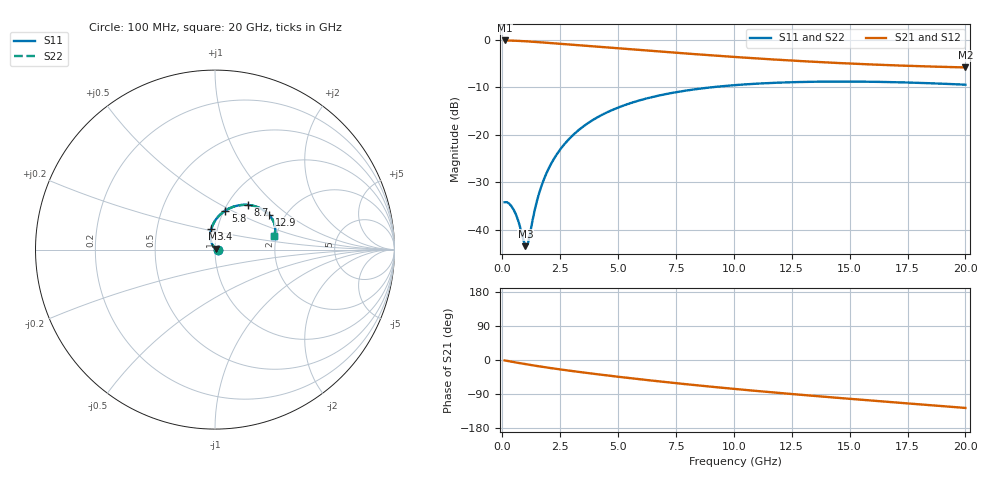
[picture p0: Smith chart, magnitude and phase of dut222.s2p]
! Created with skrf 1.9.0 (http://scikit-rf.org).
# GHz S RI R 50.0
!freq ReS11 ImS11 ReS21 ImS21 ReS12 ImS12 ReS22 ImS22
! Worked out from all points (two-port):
!   200 points, 100 MHz to 20 GHz, reference 50 ohm
!   highest |S21| = -0.17 dB at 100 MHz (marker M1); lowest = -5.9 dB at 20 GHz (marker M2)
!   |S21| within 3 dB of the highest: start of sweep to 8.647 GHz
!   lowest |S11| = -43.5 dB at 1 GHz (marker M3), VSWR 1.01, Z = 50.5 + j0.474 ohm
!   |S11| at or under -10 dB: start of sweep to 9.112 GHz
!   |S22| runs from -43.5 to -8.8 dB; largest |S21 - S12| = 2.6e-15
!   S11 on the Smith chart (normalised r, x): 100 MHz: 1.04, -0.00; 3.4 GHz: 0.94, +0.22; 5.8 GHz: 1.01, +0.46; 8.7 GHz: 1.24, +0.68; 12.9 GHz: 1.65, +0.74; 20 GHz: 1.93, +0.33
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0.1  0.0193 -0.00176  0.9801 -0.0176  0.9801 -0.0176  0.0193 -0.00176
0.3  0.0187 -0.00113  0.9763 -0.0565  0.9763 -0.0565  0.0187 -0.00113
0.5  0.016 -0.000609  0.9701 -0.094  0.9701 -0.094  0.016 -0.000609
0.7  0.0121 0.000649  0.9614 -0.1301  0.9614 -0.1301  0.0121 0.000649
1  0.00475 0.0047  0.9443 -0.1813  0.9443 -0.1813  0.00475 0.0047
1.1  0.00205 0.00671  0.9376 -0.1975  0.9376 -0.1975  0.00205 0.00671
1.4  -0.00612 0.0148  0.9155 -0.2433  0.9155 -0.2433  -0.00612 0.0148
1.6  -0.0113 0.0218  0.8994 -0.2717  0.8994 -0.2717  -0.0113 0.0218
1.8  -0.0158 0.03  0.8824 -0.2983  0.8824 -0.2983  -0.0158 0.03
2  -0.0197 0.0391  0.8648 -0.3233  0.8648 -0.3233  -0.0197 0.0391
2.6  -0.0258 0.0703  0.8097 -0.3897  0.8097 -0.3897  -0.0258 0.0703
3.4  -0.0206 0.115  0.7339 -0.4618  0.7339 -0.4618  -0.0206 0.115
3.5  -0.019 0.1204  0.7243 -0.4697  0.7243 -0.4697  -0.019 0.1204
4.5  0.00687 0.1702  0.6283 -0.5373  0.6283 -0.5373  0.00687 0.1702
5.8  0.0572 0.2171  0.5046 -0.5975  0.5046 -0.5975  0.0572 0.2171
6.8  0.1011 0.2384  0.4129 -0.6256  0.4129 -0.6256  0.1011 0.2384
8.7  0.1814 0.249  0.253 -0.6446  0.253 -0.6446  0.1814 0.249
10.1  0.2314 0.2388  0.1501 -0.6379  0.1501 -0.6379  0.2314 0.2388
12.9  0.3005 0.1947  -0.0193 -0.5941  -0.0193 -0.5941  0.3005 0.1947
13.4  0.3086 0.1853  -0.0451 -0.5837  -0.0451 -0.5837  0.3086 0.1853
16.7  0.3353 0.1237  -0.1902 -0.5038  -0.1902 -0.5038  0.3353 0.1237
20  0.3265 0.0758  -0.3031 -0.4097  -0.3031 -0.4097  0.3265 0.0758
